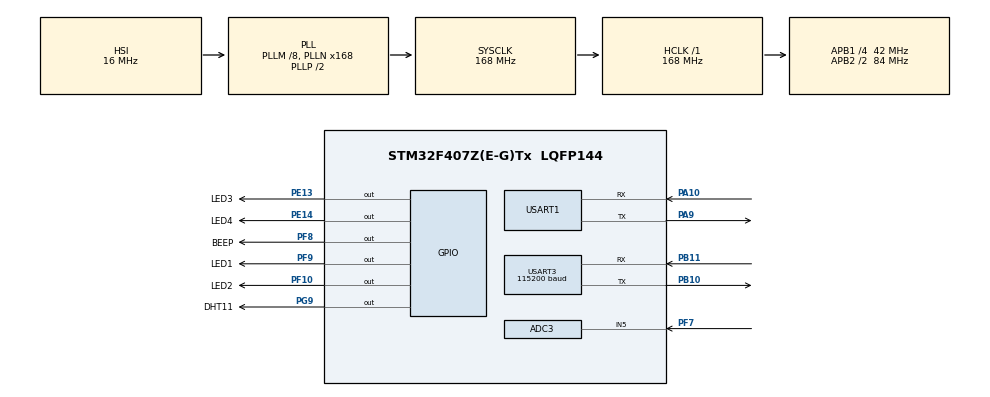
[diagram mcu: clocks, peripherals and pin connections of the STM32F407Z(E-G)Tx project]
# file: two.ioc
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ADC3.Channel-0\#ChannelRegularConversion=ADC_CHANNEL_5
ADC3.DMAContinuousRequests=ENABLE
ADC3.NbrOfConversionFlag=1
ADC3.Rank-0\#ChannelRegularConversion=1
ADC3.SamplingTime-0\#ChannelRegularConversion=ADC_SAMPLETIME_480CYCLES
Dma.ADC3.2.Direction=DMA_PERIPH_TO_MEMORY
Dma.ADC3.2.FIFOMode=DMA_FIFOMODE_DISABLE
Dma.ADC3.2.Instance=DMA2_Stream0
Dma.ADC3.2.MemDataAlignment=DMA_MDATAALIGN_HALFWORD
Dma.ADC3.2.MemInc=DMA_MINC_ENABLE
Dma.ADC3.2.Mode=DMA_CIRCULAR
Dma.ADC3.2.PeriphDataAlignment=DMA_PDATAALIGN_HALFWORD
Dma.ADC3.2.PeriphInc=DMA_PINC_DISABLE
Dma.ADC3.2.Priority=DMA_PRIORITY_LOW
Dma.Request0=USART3_RX
Dma.Request1=USART3_TX
Dma.Request2=ADC3
Dma.USART3_RX.0.Direction=DMA_PERIPH_TO_MEMORY
Dma.USART3_RX.0.FIFOMode=DMA_FIFOMODE_DISABLE
Dma.USART3_RX.0.Instance=DMA1_Stream1
Dma.USART3_RX.0.MemDataAlignment=DMA_MDATAALIGN_BYTE
Dma.USART3_RX.0.MemInc=DMA_MINC_ENABLE
Dma.USART3_RX.0.Mode=DMA_NORMAL
Dma.USART3_RX.0.PeriphDataAlignment=DMA_PDATAALIGN_BYTE
Dma.USART3_RX.0.PeriphInc=DMA_PINC_DISABLE
Dma.USART3_RX.0.Priority=DMA_PRIORITY_LOW
Dma.USART3_TX.1.Direction=DMA_MEMORY_TO_PERIPH
Dma.USART3_TX.1.FIFOMode=DMA_FIFOMODE_DISABLE
Dma.USART3_TX.1.Instance=DMA1_Stream3
Dma.USART3_TX.1.MemDataAlignment=DMA_MDATAALIGN_BYTE
Dma.USART3_TX.1.MemInc=DMA_MINC_ENABLE
Dma.USART3_TX.1.Mode=DMA_NORMAL
Dma.USART3_TX.1.PeriphDataAlignment=DMA_PDATAALIGN_BYTE
Dma.USART3_TX.1.PeriphInc=DMA_PINC_DISABLE
Dma.USART3_TX.1.Priority=DMA_PRIORITY_LOW
Mcu.Family=STM32F4
Mcu.Name=STM32F407Z(E-G)Tx
Mcu.Package=LQFP144
NVIC.DMA1_Stream1_IRQn=true\:0\:0\:false\:false\:true\:false\:true\:true
NVIC.DMA1_Stream3_IRQn=true\:0\:0\:false\:false\:true\:false\:true\:true
NVIC.DMA2_Stream0_IRQn=true\:0\:0\:false\:false\:true\:false\:true\:true
NVIC.PriorityGroup=NVIC_PRIORITYGROUP_4
NVIC.USART3_IRQn=true\:0\:0\:false\:false\:true\:true\:true\:true
PA10.Mode=Asynchronous
PA10.Signal=USART1_RX
PA9.Mode=Asynchronous
PA9.Signal=USART1_TX
PB10.Mode=Asynchronous
PB10.Signal=USART3_TX
PB11.Mode=Asynchronous
PB11.Signal=USART3_RX
PE13.GPIO_Label=LED3
PE13.Signal=GPIO_Output
PE14.GPIO_Label=LED4
PE14.Signal=GPIO_Output
PF10.GPIO_Label=LED2
PF10.Signal=GPIO_Output
PF7.Mode=IN5
PF7.Signal=ADC3_IN5
PF8.GPIO_Label=BEEP
PF8.Signal=GPIO_Output
PF9.GPIO_Label=LED1
PF9.Signal=GPIO_Output
PG9.GPIO_Label=DHT11
PG9.Signal=GPIO_Output
ProjectManager.HeapSize=0x200
ProjectManager.StackSize=0x400
ProjectManager.TargetToolchain=MDK-ARM V5.32
RCC.48MHZClocksFreq_Value=84000000
RCC.AHBFreq_Value=168000000
RCC.APB1CLKDivider=RCC_HCLK_DIV4
RCC.APB1Freq_Value=42000000
RCC.APB1TimFreq_Value=84000000
RCC.APB2CLKDivider=RCC_HCLK_DIV2
RCC.APB2Freq_Value=84000000
RCC.APB2TimFreq_Value=168000000
RCC.CortexFreq_Value=168000000
RCC.HCLKFreq_Value=168000000
RCC.HSE_VALUE=25000000
RCC.HSI_VALUE=16000000
RCC.LSE_VALUE=32768
RCC.PLLM=8
RCC.PLLN=168
RCC.SYSCLKFreq_VALUE=168000000
RCC.SYSCLKSource=RCC_SYSCLKSOURCE_PLLCLK
RCC.VCOOutputFreq_Value=336000000
USART1.VirtualMode=VM_ASYNC
USART3.BaudRate=115200
USART3.VirtualMode=VM_ASYNC
board=custom

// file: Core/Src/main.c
/* USER CODE BEGIN Header */
/**
  ******************************************************************************
  * @file           : main.c
  * @brief          : Main program body
  ******************************************************************************
  * @attention
  *
  * Copyright (c) 2025 STMicroelectronics.
  * All rights reserved.
  *
  * This software is licensed under terms that can be found in the LICENSE file
  * in the root directory of this software component.
  * If no LICENSE file comes with this software, it is provided AS-IS.
  *
  ******************************************************************************
  */
/* USER CODE END Header */
#include "main.h"
#include "adc.h"
#include "dma.h"
#include "usart.h"
#include "gpio.h"

/* USER CODE BEGIN Includes */
#include "log.h"         // 统一日志库
#include "esp8266.h"     // esp8266驱动库
#include "dht11.h"       // dht11驱动库
#include "esp8266_mqtt.h" // esp8266的MQTT驱动库
#include "light_sensor.h" // 光敏传感器驱动库
/* USER CODE END Includes */

/* USER CODE BEGIN PD */
/* MQTT Broker配置 - 请根据实际情况修改 */
#define MQTT_EXAMPLE_BROKER     "47.107.34.158"    /* 公共测试Broker */
#define MQTT_EXAMPLE_PORT       1883                 /* 默认MQTT端口 */
#define MQTT_EXAMPLE_CLIENT_ID  "STM32F407_Client"   /* 客户端ID */
#define MQTT_EXAMPLE_USERNAME   "stm32"                   /* 用户名(公共Broker可为空) */
#define MQTT_EXAMPLE_PASSWORD   "123456"                   /* 密码(公共Broker可为空) */

/* 主题配置 */
#define MQTT_TOPIC_SENSOR_DATA  "stm32/sensor/data"  /* 传感器数据发布主题 */
#define MQTT_TOPIC_CONTROL      "stm32/control"      /* 控制命令订阅主题 */
/* USER CODE END PD */

void SystemClock_Config(void);
/* USER CODE BEGIN PFP */
/* MQTT回调函数声明 */
void OnMQTTConnected(void);
void OnMQTTDisconnected(void);
void OnMQTTMessageReceived(MQTT_Message_t *message);
void OnMQTTPublishComplete(const char *topic);
void OnMQTTError(MQTT_Status_t error);

/* JSON解析辅助函数 */
static int JSON_GetBoolValue(const char *json, const char *key, uint8_t *value);
/* USER CODE END PFP */

int main(void)
{

  /* MCU Configuration--------------------------------------------------------*/

  /* Reset of all peripherals, Initializes the Flash interface and the Systick. */
  HAL_Init();

  /* Configure the system clock */
  SystemClock_Config();

  /* Initialize all configured peripherals */
  MX_GPIO_Init();
  MX_DMA_Init();
  MX_USART1_UART_Init();
  MX_USART3_UART_Init();
  MX_ADC3_Init();
  /* USER CODE BEGIN 2 */
	/* 初始化统一日志库 */
	LOG_Init(&huart1);
	LOG_I("MAIN", "System starting...");

	/* 初始化DHT11温湿度传感器 */
	DHT11_Init();
	LOG_I("MAIN", "DHT11 initialized");

	/* 初始化光敏传感器 (轮询模式) */
	if (LightSensor_Init() == LIGHT_SENSOR_OK) {
		LOG_I("MAIN", "LightSensor initialized");
	} else {
		LOG_E("MAIN", "LightSensor init failed!");
	}

	ESP8266_Status_t status;

    /* 初始化ESP8266 */
    status = ESP8266_Init(&huart3);
    if (status != ESP8266_OK) {
        LOG_E("ESP8266", "ESP8266 init failed!");
    }

    /* 设置WiFi模式为Station */
    ESP8266_SetWiFiMode(ESP8266_MODE_STA);

    /* 连接WiFi */
    status = ESP8266_ConnectAP("AK70", "204081011");
    if (status == ESP8266_OK) {
        LOG_I("ESP8266", "WiFi connected!");

        /* 获取IP地址 */
        ESP8266_IPInfo_t ipInfo;
        ESP8266_GetIPInfo(&ipInfo);
        LOG_I("ESP8266", "IP: %s", ipInfo.ip);
    } else {
        LOG_E("ESP8266", "WiFi connection failed!");
    }

	  MQTT_State_t ret = MQTT_Init();
    if (ret != MQTT_OK)
		{
			LOG_E("MQTT", "MQTT init failed!");
			return -1;
		}

    /* 2. 设置回调函数 */
    MQTT_SetOnConnected(OnMQTTConnected);
    MQTT_SetOnDisconnected(OnMQTTDisconnected);
    MQTT_SetOnMessageReceived(OnMQTTMessageReceived);

    /* 3. 配置用户参数 */
    MQTT_UserConfig_t userConfig = {
        .scheme = MQTT_SCHEME_TCP,
        .clientId = MQTT_EXAMPLE_CLIENT_ID,
        .username = MQTT_EXAMPLE_USERNAME,
        .password = MQTT_EXAMPLE_PASSWORD,
        .certKeyId = 0,
        .caId = 0,
        .path = ""
    };
    ret = MQTT_SetUserConfig(&userConfig);
    if (ret != MQTT_OK)
		{
			LOG_E("MQTT", "Set User Config failed!");
		}

    /* 6. 配置Broker */
    ret = MQTT_SetBroker(MQTT_EXAMPLE_BROKER, MQTT_EXAMPLE_PORT, 1);
		if (ret != MQTT_OK)
		{
			LOG_E("MQTT", "Set Broker failed!");
			////return -1;
		}

    /* 7. 连接 */
    ret = MQTT_Connect();
    if (ret == MQTT_OK) {
        LOG_I("MQTT", "Connected to broker!");

        /* 8. 订阅控制主题 */
        ret = MQTT_Subscribe(MQTT_TOPIC_CONTROL, MQTT_QOS_1);
        if (ret == MQTT_OK) {
            LOG_I("MQTT", "Subscribed to %s", MQTT_TOPIC_CONTROL);
        } else {
            LOG_E("MQTT", "Subscribe failed!");
        }
    }
  /* USER CODE END 2 */

  /* Infinite loop */
  /* USER CODE BEGIN WHILE */
  while (1)
  {
		//ESP8266_MainLoop();
		float temperature, humidity;
		char buffer[128];
		uint16_t light_value = 0;

		/* ========== 读取光敏传感器 ========== */
		/* LS1传感器特性：亮时ADC值小，暗时ADC值大，所以需要反转 */
		light_value = 4095 - LightSensor_GetValue();

		/* ========== 读取DHT11温湿度传感器 ========== */
    DHT11_Status_t dht_status = DHT11_Read(&temperature, &humidity);

		if (dht_status == DHT11_OK) {
			/* 构建包含所有传感器数据的JSON */
			snprintf(buffer, sizeof(buffer),
				"{\"temp\":%.1f,\"humi\":%.1f,\"light\":%d}",
				temperature, humidity, light_value);
			LOG_I("MQTT", "%s", buffer);

        /* 发布到MQTT */
        MQTT_Publish(MQTT_TOPIC_SENSOR_DATA, buffer, MQTT_QOS_0, 0);
    } else {
        /* DHT11读取失败，只发布光照数据 */
        snprintf(buffer, sizeof(buffer), "{\"light\":%d}", light_value);
        HAL_UART_Transmit(&huart1, (uint8_t*)buffer, strlen(buffer), 100);
        HAL_UART_Transmit(&huart1, (uint8_t*)"\r\n", 2, 100);
        MQTT_Publish(MQTT_TOPIC_SENSOR_DATA, buffer, MQTT_QOS_0, 0);
    }
    /* 处理MQTT订阅消息 */
    MQTT_ProcessData();

    HAL_Delay(5000);  /* 每5秒读取一次 */

    /* USER CODE END WHILE */

    /* USER CODE BEGIN 3 */
  }
	/* 退出透传模式 */
  // ESP8266_ExitTransparent();
  // ESP8266_DebugPrint("Exited transparent mode\r\n");
  /* USER CODE END 3 */
}

void SystemClock_Config(void)
{
  RCC_OscInitTypeDef RCC_OscInitStruct = {0};
  RCC_ClkInitTypeDef RCC_ClkInitStruct = {0};

  /** Configure the main internal regulator output voltage
  */
  __HAL_RCC_PWR_CLK_ENABLE();
  __HAL_PWR_VOLTAGESCALING_CONFIG(PWR_REGULATOR_VOLTAGE_SCALE1);

  /** Initializes the RCC Oscillators according to the specified parameters
  * in the RCC_OscInitTypeDef structure.
  */
  RCC_OscInitStruct.OscillatorType = RCC_OSCILLATORTYPE_HSI;
  RCC_OscInitStruct.HSIState = RCC_HSI_ON;
  RCC_OscInitStruct.HSICalibrationValue = RCC_HSICALIBRATION_DEFAULT;
  RCC_OscInitStruct.PLL.PLLState = RCC_PLL_ON;
  RCC_OscInitStruct.PLL.PLLSource = RCC_PLLSOURCE_HSI;
  RCC_OscInitStruct.PLL.PLLM = 8;
  RCC_OscInitStruct.PLL.PLLN = 168;
  RCC_OscInitStruct.PLL.PLLP = RCC_PLLP_DIV2;
  RCC_OscInitStruct.PLL.PLLQ = 4;
  if (HAL_RCC_OscConfig(&RCC_OscInitStruct) != HAL_OK)
  {
    Error_Handler();
  }

  /** Initializes the CPU, AHB and APB buses clocks
  */
  RCC_ClkInitStruct.ClockType = RCC_CLOCKTYPE_HCLK|RCC_CLOCKTYPE_SYSCLK
                              |RCC_CLOCKTYPE_PCLK1|RCC_CLOCKTYPE_PCLK2;
  RCC_ClkInitStruct.SYSCLKSource = RCC_SYSCLKSOURCE_PLLCLK;
  RCC_ClkInitStruct.AHBCLKDivider = RCC_SYSCLK_DIV1;
  RCC_ClkInitStruct.APB1CLKDivider = RCC_HCLK_DIV4;
  RCC_ClkInitStruct.APB2CLKDivider = RCC_HCLK_DIV2;

  if (HAL_RCC_ClockConfig(&RCC_ClkInitStruct, FLASH_LATENCY_5) != HAL_OK)
  {
    Error_Handler();
  }
}

/* USER CODE BEGIN 4 */

/**
  * @brief  MQTT连接成功回调
  */
void OnMQTTConnected(void)
{
    LOG_I("MQTT", "Connected callback!");
}

/**
  * @brief  MQTT断开连接回调
  */
void OnMQTTDisconnected(void)
{
    LOG_W("MQTT", "Disconnected callback!");
}

/**
  * @brief  JSON解析辅助函数 - 获取布尔值
  * @param  json: JSON字符串
  * @param  key: 要查找的键名
  * @param  value: 输出布尔值 (1=true, 0=false)
  * @retval 0=成功, -1=未找到键, -2=解析失败
  */
static int JSON_GetBoolValue(const char *json, const char *key, uint8_t *value)
{
    if (!json || !key || !value) return -2;

    /* 构建搜索模式 "key": */
    char pattern[64];
    snprintf(pattern, sizeof(pattern), "\"%s\":", key);

    char *ptr = strstr(json, pattern);
    if (!ptr) return -1;  /* 未找到键 */

    /* 跳过 "key": */
    ptr += strlen(pattern);

    /* 跳过空格 */
    while (*ptr == ' ') ptr++;

    /* 解析值 */
    if (strncmp(ptr, "true", 4) == 0 || strncmp(ptr, "1", 1) == 0) {
        *value = 1;
        return 0;
    } else if (strncmp(ptr, "false", 5) == 0 || strncmp(ptr, "0", 1) == 0) {
        *value = 0;
        return 0;
    }

    return -2;  /* 解析失败 */
}

/**
  * @brief  MQTT消息接收回调
  * @param  message: 接收到的消息
  * @note   解析JSON格式数据控制LED和蜂鸣器
  *         支持格式: {"led1":true}, {"led2":false}, {"beep":true} 等
  *         也支持组合: {"led1":true,"led2":false,"beep":true}
  */
void OnMQTTMessageReceived(MQTT_Message_t *message)
{
    if (!message) return;

    LOG_I("MQTT", "Message received!");
    LOG_D("MQTT", "Topic: %s", message->topic);
    LOG_D("MQTT", "Data: %s", message->data);

    /* 处理控制命令 */
    if (strcmp(message->topic, MQTT_TOPIC_CONTROL) == 0) {
        uint8_t boolValue;
        char *jsonData = (char *)message->data;

        /* ========== LED1控制 (PF9) ========== */
        /* JSON格式: {"led1":true} 或 {"led1":false} */
        if (JSON_GetBoolValue(jsonData, "led1", &boolValue) == 0) {
            HAL_GPIO_WritePin(LED1_GPIO_Port, LED1_Pin,
                              boolValue ? GPIO_PIN_SET : GPIO_PIN_RESET);
            LOG_I("Control", "LED1 -> %s", boolValue ? "ON" : "OFF");
        }

        /* ========== LED2控制 (PF10) ========== */
        /* JSON格式: {"led2":true} 或 {"led2":false} */
        if (JSON_GetBoolValue(jsonData, "led2", &boolValue) == 0) {
            HAL_GPIO_WritePin(LED2_GPIO_Port, LED2_Pin,
                              boolValue ? GPIO_PIN_SET : GPIO_PIN_RESET);
            LOG_I("Control", "LED2 -> %s", boolValue ? "ON" : "OFF");
        }

        /* ========== LED3控制 (PE13) ========== */
        /* JSON格式: {"led3":true} 或 {"led3":false} */
        if (JSON_GetBoolValue(jsonData, "led3", &boolValue) == 0) {
            HAL_GPIO_WritePin(LED3_GPIO_Port, LED3_Pin,
                              boolValue ? GPIO_PIN_SET : GPIO_PIN_RESET);
            LOG_I("Control", "LED3 -> %s", boolValue ? "ON" : "OFF");
        }

        /* ========== LED4控制 (PE14) ========== */
        /* JSON格式: {"led4":true} 或 {"led4":false} */
        if (JSON_GetBoolValue(jsonData, "led4", &boolValue) == 0) {
            HAL_GPIO_WritePin(LED4_GPIO_Port, LED4_Pin,
                              boolValue ? GPIO_PIN_SET : GPIO_PIN_RESET);
            LOG_I("Control", "LED4 -> %s", boolValue ? "ON" : "OFF");
        }

        /* ========== 蜂鸣器控制 (PF8) ========== */
        /* JSON格式: {"beep":true} 或 {"beep":false} */
        if (JSON_GetBoolValue(jsonData, "beep", &boolValue) == 0) {
            HAL_GPIO_WritePin(BEEP_GPIO_Port, BEEP_Pin,
                              boolValue ? GPIO_PIN_SET : GPIO_PIN_RESET);
            LOG_I("Control", "BEEP -> %s", boolValue ? "ON" : "OFF");
        }
    }
}

/**
  * @brief  MQTT发布完成回调
  * @param  topic: 发布的主题
  */
void OnMQTTPublishComplete(const char *topic)
{
    LOG_D("MQTT", "Published to: %s", topic);
}

/**
  * @brief  MQTT错误回调
  * @param  error: 错误码
  */
void OnMQTTError(MQTT_Status_t error)
{
    LOG_E("MQTT", "Error: %d", error);
}

/* USER CODE END 4 */

void Error_Handler(void)
{
  /* USER CODE BEGIN Error_Handler_Debug */
  /* User can add his own implementation to report the HAL error return state */
  __disable_irq();
	LOG_E("Error_Handler", "Error occurrence!");
  while (1)
  {
  }
  /* USER CODE END Error_Handler_Debug */
}
